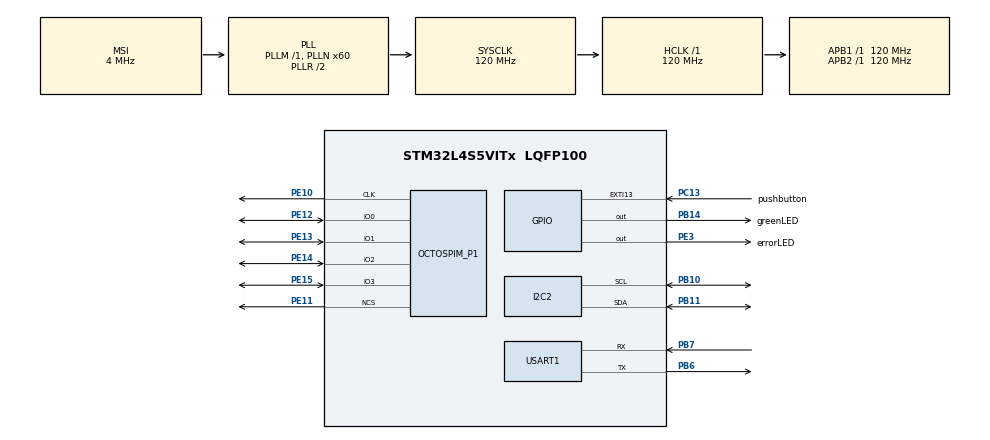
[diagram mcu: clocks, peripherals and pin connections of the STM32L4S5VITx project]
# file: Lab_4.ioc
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FREERTOS.Tasks01=defaultTask,0,128,StartDefaultTask,Default,NULL,Dynamic,NULL,NULL;monitorPB,0,128,startMonitorPB,Default,NULL,Dynamic,NULL,NULL;readSensors,0,128,startReadSensors,Default,NULL,Dynamic,NULL,NULL
FREERTOS.configUSE_NEWLIB_REENTRANT=1
I2C2.Speed=100
I2C2.Timing=0x307075B1
Mcu.Family=STM32L4
Mcu.Name=STM32L4S5VITx
Mcu.Package=LQFP100
NVIC.EXTI15_10_IRQn=true\:5\:0\:false\:false\:true\:true\:true\:true\:true
NVIC.PriorityGroup=NVIC_PRIORITYGROUP_4
NVIC.TIM6_DAC_IRQn=true\:15\:0\:false\:false\:true\:false\:false\:true\:true
NVIC.TimeBase=TIM6_DAC_IRQn
NVIC.TimeBaseIP=TIM6
OCTOSPI1.MemoryType=HAL_OSPI_MEMTYPE_MACRONIX
PB10.Mode=I2C
PB10.Signal=I2C2_SCL
PB11.Mode=I2C
PB11.Signal=I2C2_SDA
PB14.GPIO_Label=greenLED
PB14.Signal=GPIO_Output
PB6.Mode=Asynchronous
PB6.Signal=USART1_TX
PB7.Mode=Asynchronous
PB7.Signal=USART1_RX
PC13.GPIO_Label=pushbutton
PC13.Signal=GPXTI13
PE10.Mode=O1_P1_CLK
PE10.Signal=OCTOSPIM_P1_CLK
PE11.Mode=OCTOSPI1_Port1_NCS
PE11.Signal=OCTOSPIM_P1_NCS
PE12.Mode=OCTOSPI1_IOL_Port1L
PE12.Signal=OCTOSPIM_P1_IO0
PE13.Mode=OCTOSPI1_IOL_Port1L
PE13.Signal=OCTOSPIM_P1_IO1
PE14.Mode=OCTOSPI1_IOL_Port1L
PE14.Signal=OCTOSPIM_P1_IO2
PE15.Mode=OCTOSPI1_IOL_Port1L
PE15.Signal=OCTOSPIM_P1_IO3
PE3.GPIO_Label=errorLED
PE3.Signal=GPIO_Output
ProjectManager.HeapSize=0x200
ProjectManager.StackSize=0x400
ProjectManager.TargetToolchain=STM32CubeIDE
RCC.ADCFreq_Value=48000000
RCC.AHBFreq_Value=120000000
RCC.APB1Freq_Value=120000000
RCC.APB1TimFreq_Value=120000000
RCC.APB2Freq_Value=120000000
RCC.APB2TimFreq_Value=120000000
RCC.CortexFreq_Value=120000000
RCC.HCLKFreq_Value=120000000
RCC.HSE_VALUE=8000000
RCC.HSI48_VALUE=48000000
RCC.HSI_VALUE=16000000
RCC.LSE_VALUE=32768
RCC.MSI_VALUE=4000000
RCC.PLLN=60
RCC.PLLSAI1N=24
RCC.SYSCLKFreq_VALUE=120000000
RCC.SYSCLKSource=RCC_SYSCLKSOURCE_PLLCLK
RCC.USBFreq_Value=48000000
RCC.VCOOutputFreq_Value=240000000
USART1.VirtualMode-Asynchronous=VM_ASYNC
VP_FREERTOS_VS_CMSIS_V1.Mode=CMSIS_V1
VP_OCTOSPI1_VS_quad.Mode=quad_mode
VP_SYS_VS_tim6.Mode=TIM6
board=B-L4S5I-IOT01A

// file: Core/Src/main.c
/* USER CODE BEGIN Header */
/**
  ******************************************************************************
  * @file           : main.c
  * @brief          : Main program body
  ******************************************************************************
  * @attention
  *
  * Copyright (c) 2023 STMicroelectronics.
  * All rights reserved.
  *
  * This software is licensed under terms that can be found in the LICENSE file
  * in the root directory of this software component.
  * If no LICENSE file comes with this software, it is provided AS-IS.
  *
  ******************************************************************************
  */
/* USER CODE END Header */
#include "main.h"
#include "cmsis_os.h"

/* USER CODE BEGIN Includes */
#define ARM_MATH_CM4
#include "arm_math.h"
#include <math.h>
#include "stdio.h"
#include "string.h"
#include "stm32l4s5i_iot01_magneto.h"
#include "stm32l4s5i_iot01_hsensor.h"
#include "stm32l4s5i_iot01_gyro.h"
#include "stm32l4s5i_iot01_accelero.h"
#include "stm32l4s5i_iot01.h"
#include "mx25r6435f.h"
#include "stm32l4s5i_iot01_qspi.h"
/* USER CODE END Includes */

/* USER CODE BEGIN PD */
#define ITM_Port32(n) (*((volatile unsigned long *) (0xE0000000+4*n)))
#define HUMM_ADD 0
#define ACCEL_ADD 400
#define GYRO_ADD 1000
#define MAGNO_ADD 2200
/* USER CODE END PD */

I2C_HandleTypeDef hi2c2;

OSPI_HandleTypeDef hospi1;

UART_HandleTypeDef huart1;

osThreadId defaultTaskHandle;
osThreadId monitorPBHandle;
osThreadId readSensorsHandle;
/* USER CODE BEGIN PV */
float humidity = 0.0;
float flash_humidity = 0.0;
int16_t accel[3];
float gyro[3];
int16_t magneto[3];
char str_hum[100] = ""; //formatted string message to display the temperature

uint8_t sensor = 0;
uint8_t add_offset =0;
uint8_t INDEX = 0;
uint8_t if_wrap_around = 0;
uint8_t size = 0;

uint8_t values[3] = {1, 2, 3};
uint8_t result[3] = {0,0,0};

float humidity_array[100];
int16_t accel_array[300];
float gyro_array[300];
int16_t magneto_array[300];

/* USER CODE END PV */

void SystemClock_Config(void);
static void MX_GPIO_Init(void);
static void MX_I2C2_Init(void);
static void MX_USART1_UART_Init(void);
static void MX_OCTOSPI1_Init(void);
void StartDefaultTask(void const * argument);
void startMonitorPB(void const * argument);
void startReadSensors(void const * argument);

/* USER CODE BEGIN 0 */
//int _write(int file, char *ptr, int len){
//	HAL_UART_Transmit(&huart1, (uint8_t*) ptr, len, HAL_MAX_DELAY);
//	return len;
//}
/* USER CODE END 0 */

int main(void)
{

  /* MCU Configuration--------------------------------------------------------*/

  /* Reset of all peripherals, Initializes the Flash interface and the Systick. */
  HAL_Init();

  /* Configure the system clock */
  SystemClock_Config();

  /* Initialize all configured peripherals */
  MX_GPIO_Init();
  MX_I2C2_Init();
  MX_USART1_UART_Init();
  MX_OCTOSPI1_Init();
  /* USER CODE BEGIN 2 */
  BSP_HSENSOR_Init();
  BSP_MAGNETO_Init();
  BSP_ACCELERO_Init();
  BSP_GYRO_Init();
  BSP_QSPI_Init();

  if(BSP_QSPI_Erase_Block(0) != QSPI_OK){
	Error_Handler();
  }
  /* USER CODE END 2 */

  /* Create the thread(s) */
  /* definition and creation of defaultTask */
  osThreadDef(defaultTask, StartDefaultTask, osPriorityNormal, 0, 128);
  defaultTaskHandle = osThreadCreate(osThread(defaultTask), NULL);

  /* definition and creation of monitorPB */
  osThreadDef(monitorPB, startMonitorPB, osPriorityNormal, 0, 128);
  monitorPBHandle = osThreadCreate(osThread(monitorPB), NULL);

  /* definition and creation of readSensors */
  osThreadDef(readSensors, startReadSensors, osPriorityNormal, 0, 128);
  readSensorsHandle = osThreadCreate(osThread(readSensors), NULL);

  /* Start scheduler */
  osKernelStart();

  /* We should never get here as control is now taken by the scheduler */
  /* Infinite loop */
  while (1)
  {

    /* USER CODE BEGIN 3 */

//	 HAL_GPIO_WritePin(errorLED_GPIO_Port, errorLED_Pin, GPIO_PIN_SET);
//	 humidity = BSP_HSENSOR_ReadHumidity();
//
//
//	 if(BSP_QSPI_Write(&humidity, HUMM_ADD + add_offset*sizeof(float), sizeof(float)) != QSPI_OK){
//		 Error_Handler();
//	 }
//
//	 if(BSP_QSPI_Read(&flash_humidity, HUMM_ADD + add_offset*sizeof(float), sizeof(float))!= QSPI_OK){
//		 Error_Handler();
//	 }
//
//	 add_offset = (add_offset + 1)%10;
//	 flash_humidity = 0;
//	 HAL_Delay(100);
  }
  /* USER CODE END 3 */
}

void SystemClock_Config(void)
{
  RCC_OscInitTypeDef RCC_OscInitStruct = {0};
  RCC_ClkInitTypeDef RCC_ClkInitStruct = {0};

  /** Configure the main internal regulator output voltage
  */
  if (HAL_PWREx_ControlVoltageScaling(PWR_REGULATOR_VOLTAGE_SCALE1_BOOST) != HAL_OK)
  {
    Error_Handler();
  }

  /** Initializes the RCC Oscillators according to the specified parameters
  * in the RCC_OscInitTypeDef structure.
  */
  RCC_OscInitStruct.OscillatorType = RCC_OSCILLATORTYPE_MSI;
  RCC_OscInitStruct.MSIState = RCC_MSI_ON;
  RCC_OscInitStruct.MSICalibrationValue = 0;
  RCC_OscInitStruct.MSIClockRange = RCC_MSIRANGE_6;
  RCC_OscInitStruct.PLL.PLLState = RCC_PLL_ON;
  RCC_OscInitStruct.PLL.PLLSource = RCC_PLLSOURCE_MSI;
  RCC_OscInitStruct.PLL.PLLM = 1;
  RCC_OscInitStruct.PLL.PLLN = 60;
  RCC_OscInitStruct.PLL.PLLP = RCC_PLLP_DIV2;
  RCC_OscInitStruct.PLL.PLLQ = RCC_PLLQ_DIV2;
  RCC_OscInitStruct.PLL.PLLR = RCC_PLLR_DIV2;
  if (HAL_RCC_OscConfig(&RCC_OscInitStruct) != HAL_OK)
  {
    Error_Handler();
  }

  /** Initializes the CPU, AHB and APB buses clocks
  */
  RCC_ClkInitStruct.ClockType = RCC_CLOCKTYPE_HCLK|RCC_CLOCKTYPE_SYSCLK
                              |RCC_CLOCKTYPE_PCLK1|RCC_CLOCKTYPE_PCLK2;
  RCC_ClkInitStruct.SYSCLKSource = RCC_SYSCLKSOURCE_PLLCLK;
  RCC_ClkInitStruct.AHBCLKDivider = RCC_SYSCLK_DIV1;
  RCC_ClkInitStruct.APB1CLKDivider = RCC_HCLK_DIV1;
  RCC_ClkInitStruct.APB2CLKDivider = RCC_HCLK_DIV1;

  if (HAL_RCC_ClockConfig(&RCC_ClkInitStruct, FLASH_LATENCY_5) != HAL_OK)
  {
    Error_Handler();
  }
}

static void MX_I2C2_Init(void)
{

  hi2c2.Instance = I2C2;
  hi2c2.Init.Timing = 0x307075B1;
  hi2c2.Init.OwnAddress1 = 0;
  hi2c2.Init.AddressingMode = I2C_ADDRESSINGMODE_7BIT;
  hi2c2.Init.DualAddressMode = I2C_DUALADDRESS_DISABLE;
  hi2c2.Init.OwnAddress2 = 0;
  hi2c2.Init.OwnAddress2Masks = I2C_OA2_NOMASK;
  hi2c2.Init.GeneralCallMode = I2C_GENERALCALL_DISABLE;
  hi2c2.Init.NoStretchMode = I2C_NOSTRETCH_DISABLE;
  if (HAL_I2C_Init(&hi2c2) != HAL_OK)
  {
    Error_Handler();
  }

  /** Configure Analogue filter
  */
  if (HAL_I2CEx_ConfigAnalogFilter(&hi2c2, I2C_ANALOGFILTER_ENABLE) != HAL_OK)
  {
    Error_Handler();
  }

  /** Configure Digital filter
  */
  if (HAL_I2CEx_ConfigDigitalFilter(&hi2c2, 0) != HAL_OK)
  {
    Error_Handler();
  }

}

static void MX_OCTOSPI1_Init(void)
{

  OSPIM_CfgTypeDef OSPIM_Cfg_Struct = {0};

  /* OCTOSPI1 parameter configuration*/
  hospi1.Instance = OCTOSPI1;
  hospi1.Init.FifoThreshold = 1;
  hospi1.Init.DualQuad = HAL_OSPI_DUALQUAD_DISABLE;
  hospi1.Init.MemoryType = HAL_OSPI_MEMTYPE_MACRONIX;
  hospi1.Init.DeviceSize = 32;
  hospi1.Init.ChipSelectHighTime = 1;
  hospi1.Init.FreeRunningClock = HAL_OSPI_FREERUNCLK_DISABLE;
  hospi1.Init.ClockMode = HAL_OSPI_CLOCK_MODE_0;
  hospi1.Init.ClockPrescaler = 1;
  hospi1.Init.SampleShifting = HAL_OSPI_SAMPLE_SHIFTING_NONE;
  hospi1.Init.DelayHoldQuarterCycle = HAL_OSPI_DHQC_DISABLE;
  hospi1.Init.ChipSelectBoundary = 0;
  hospi1.Init.DelayBlockBypass = HAL_OSPI_DELAY_BLOCK_BYPASSED;
  if (HAL_OSPI_Init(&hospi1) != HAL_OK)
  {
    Error_Handler();
  }
  OSPIM_Cfg_Struct.ClkPort = 1;
  OSPIM_Cfg_Struct.NCSPort = 1;
  OSPIM_Cfg_Struct.IOLowPort = HAL_OSPIM_IOPORT_1_LOW;
  if (HAL_OSPIM_Config(&hospi1, &OSPIM_Cfg_Struct, HAL_OSPI_TIMEOUT_DEFAULT_VALUE) != HAL_OK)
  {
    Error_Handler();
  }

}

static void MX_USART1_UART_Init(void)
{

  huart1.Instance = USART1;
  huart1.Init.BaudRate = 115200;
  huart1.Init.WordLength = UART_WORDLENGTH_8B;
  huart1.Init.StopBits = UART_STOPBITS_1;
  huart1.Init.Parity = UART_PARITY_NONE;
  huart1.Init.Mode = UART_MODE_TX_RX;
  huart1.Init.HwFlowCtl = UART_HWCONTROL_NONE;
  huart1.Init.OverSampling = UART_OVERSAMPLING_16;
  huart1.Init.OneBitSampling = UART_ONE_BIT_SAMPLE_DISABLE;
  huart1.Init.ClockPrescaler = UART_PRESCALER_DIV1;
  huart1.AdvancedInit.AdvFeatureInit = UART_ADVFEATURE_NO_INIT;
  if (HAL_UART_Init(&huart1) != HAL_OK)
  {
    Error_Handler();
  }
  if (HAL_UARTEx_SetTxFifoThreshold(&huart1, UART_TXFIFO_THRESHOLD_1_8) != HAL_OK)
  {
    Error_Handler();
  }
  if (HAL_UARTEx_SetRxFifoThreshold(&huart1, UART_RXFIFO_THRESHOLD_1_8) != HAL_OK)
  {
    Error_Handler();
  }
  if (HAL_UARTEx_DisableFifoMode(&huart1) != HAL_OK)
  {
    Error_Handler();
  }

}

static void MX_GPIO_Init(void)
{
  GPIO_InitTypeDef GPIO_InitStruct = {0};

  /* GPIO Ports Clock Enable */
  __HAL_RCC_GPIOE_CLK_ENABLE();
  __HAL_RCC_GPIOC_CLK_ENABLE();
  __HAL_RCC_GPIOB_CLK_ENABLE();

  /*Configure GPIO pin Output Level */
  HAL_GPIO_WritePin(errorLED_GPIO_Port, errorLED_Pin, GPIO_PIN_RESET);

  /*Configure GPIO pin Output Level */
  HAL_GPIO_WritePin(greenLED_GPIO_Port, greenLED_Pin, GPIO_PIN_RESET);

  /*Configure GPIO pin : errorLED_Pin */
  GPIO_InitStruct.Pin = errorLED_Pin;
  GPIO_InitStruct.Mode = GPIO_MODE_OUTPUT_PP;
  GPIO_InitStruct.Pull = GPIO_NOPULL;
  GPIO_InitStruct.Speed = GPIO_SPEED_FREQ_LOW;
  HAL_GPIO_Init(errorLED_GPIO_Port, &GPIO_InitStruct);

  /*Configure GPIO pin : pushbutton_Pin */
  GPIO_InitStruct.Pin = pushbutton_Pin;
  GPIO_InitStruct.Mode = GPIO_MODE_IT_RISING;
  GPIO_InitStruct.Pull = GPIO_NOPULL;
  HAL_GPIO_Init(pushbutton_GPIO_Port, &GPIO_InitStruct);

  /*Configure GPIO pin : greenLED_Pin */
  GPIO_InitStruct.Pin = greenLED_Pin;
  GPIO_InitStruct.Mode = GPIO_MODE_OUTPUT_PP;
  GPIO_InitStruct.Pull = GPIO_NOPULL;
  GPIO_InitStruct.Speed = GPIO_SPEED_FREQ_LOW;
  HAL_GPIO_Init(greenLED_GPIO_Port, &GPIO_InitStruct);

  /* EXTI interrupt init*/
  HAL_NVIC_SetPriority(EXTI15_10_IRQn, 5, 0);
  HAL_NVIC_EnableIRQ(EXTI15_10_IRQn);

}

/* USER CODE BEGIN 4 */

void HAL_GPIO_EXTI_Callback (uint16_t GPIO_Pin){
	sensor = (sensor + 1)%5;

}

/* USER CODE END 4 */

void StartDefaultTask(void const * argument)
{
  /* USER CODE BEGIN 5 */
  /* Infinite loop */
  for(;;)
  {
	  osDelay(100);
	  HAL_UART_Transmit(&huart1, (uint8_t*) str_hum, sizeof(str_hum), HAL_MAX_DELAY);
  }
  /* USER CODE END 5 */
}

void startMonitorPB(void const * argument)
{
  /* USER CODE BEGIN startMonitorPB */
  /* Infinite loop */
  for(;;)
  {
	  osDelay(1);
	  switch(sensor){
	  	  case 0:
	  		  memset(str_hum, '\0', sizeof(str_hum));
	  		  snprintf(str_hum, 100, "The humidity is %d\n\r", (uint8_t)humidity);
	  		  break;
	  	  case 1:
	  		  memset(str_hum, '\0', sizeof(str_hum));
	  		  snprintf(str_hum, 100, "The accelerometer reports that: x = %d, y = %d, z = %d\n\r", accel[0], accel[1], accel[2]);
	  		  break;
	  	  case 2:
	  		  memset(str_hum, '\0', sizeof(str_hum));
	  		  snprintf(str_hum, 100, "The gyroscope reports that: x = %d, y = %d, z = %d\n\r",(uint8_t)gyro[0],(uint8_t)gyro[1],(uint8_t)gyro[2]);
	  		 break;
	  	  case 3:
	  		  memset(str_hum, '\0', sizeof(str_hum));
	  		  snprintf(str_hum, 100, "The magnetometer reports: x = %d, y = %d, z = %d\n\r", magneto[0], magneto[1], magneto[2]);
	  		 break;
	  	  case 4:
	  		 size = if_wrap_around*100 + (if_wrap_around==0)*INDEX;
//	  		 if (if_wrap_around == 1){
//	  			 size = 100;
//	  		 }
//	  		 else{
//	  			 size = INDEX;
//	  		 }
	  		 if(BSP_QSPI_Read(humidity_array, HUMM_ADD, sizeof(float)*100)!= QSPI_OK){
	  			 Error_Handler();
	  		 }
	  		 if(BSP_QSPI_Read(accel_array, ACCEL_ADD, sizeof(int16_t)*100)!= QSPI_OK){
	  			  Error_Handler();
	  		 }
	  		 if(BSP_QSPI_Read(gyro_array, GYRO_ADD, sizeof(float)*100)!= QSPI_OK){
	  			 Error_Handler();
	  		 }
	  		 if(BSP_QSPI_Read(magneto_array, MAGNO_ADD, sizeof(int16_t)*100)!= QSPI_OK){
	  			Error_Handler();
	  		 }

	  		 //mean
	  		 for (int i = 0; i < size; i++){

	  		 }
	  		 break;
	  	  default:
	  }
  }
  /* USER CODE END startMonitorPB */
}

void startReadSensors(void const * argument)
{
  /* USER CODE BEGIN startReadSensors */
  /* Infinite loop */
  for(;;)
  {
	osDelay(100);
	humidity = BSP_HSENSOR_ReadHumidity();
	BSP_ACCELERO_AccGetXYZ(accel);
	BSP_GYRO_GetXYZ(gyro);
	BSP_MAGNETO_GetXYZ(magneto);

	//write the values into memory
	if (sensor != 4){
		if(BSP_QSPI_Write(&humidity, HUMM_ADD + INDEX*sizeof(float), sizeof(float)) != QSPI_OK){
			Error_Handler();
		}
		if(BSP_QSPI_Write(accel, ACCEL_ADD + INDEX*sizeof(int16_t)*3, sizeof(int16_t)*3) != QSPI_OK){
			Error_Handler();
		}
		if(BSP_QSPI_Write(gyro, GYRO_ADD + INDEX*sizeof(float)*3, sizeof(float)*3) != QSPI_OK){
			Error_Handler();
		}
		if(BSP_QSPI_Write(magneto, MAGNO_ADD + INDEX*sizeof(int16_t)*3, sizeof(int16_t)*3) != QSPI_OK){
			Error_Handler();
		}
		// Increment INDEX and set wrap around to true (1)
		INDEX++;
		if (INDEX == 100){
			if_wrap_around = 1;
			INDEX = 0;
		}
	}
  }
  /* USER CODE END startReadSensors */
}

void HAL_TIM_PeriodElapsedCallback(TIM_HandleTypeDef *htim)
{
  if (htim->Instance == TIM6) {
    HAL_IncTick();
  }
}

void Error_Handler(void)
{
  /* USER CODE BEGIN Error_Handler_Debug */
	HAL_GPIO_WritePin(errorLED_GPIO_Port, errorLED_Pin, GPIO_PIN_RESET);
	__BKPT();
  /* User can add his own implementation to report the HAL error return state */
  __disable_irq();
  while (1)
  {
  }
  /* USER CODE END Error_Handler_Debug */
}
